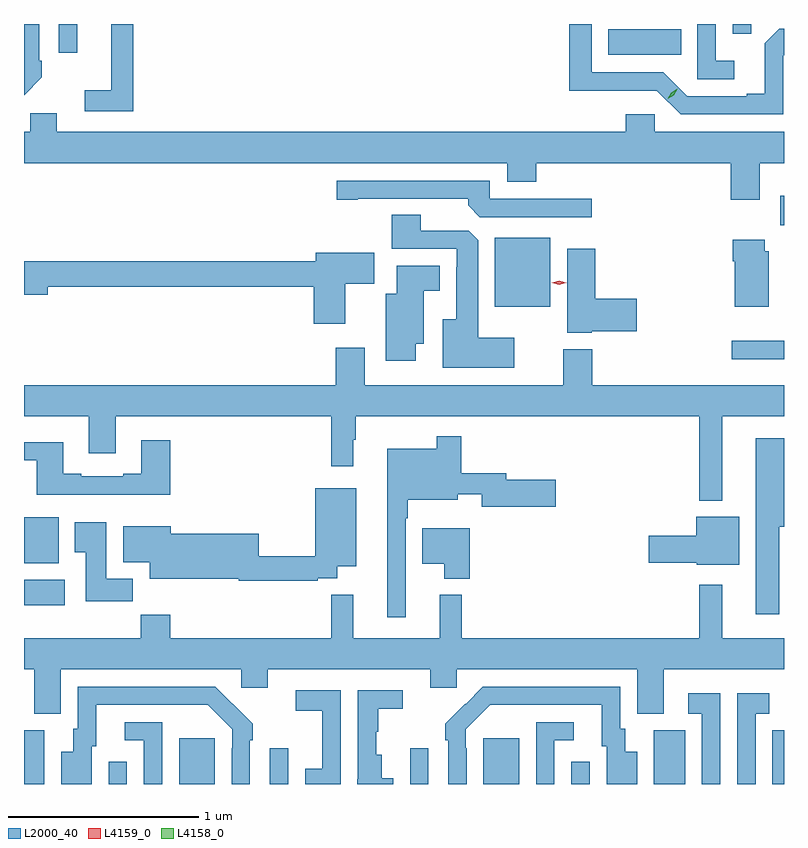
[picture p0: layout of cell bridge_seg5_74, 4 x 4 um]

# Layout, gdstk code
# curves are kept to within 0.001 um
import gdstk
lib = gdstk.Library(unit=1e-6, precision=1e-09)
def R(c, l, rs):  # rectangles x0, y0, x1, y1
    for r in rs: c.add(gdstk.rectangle(r[:2], r[2:], *l))
def P(c, l, *ps):  # polygons
    for p in ps: c.add(gdstk.Polygon(p, *l))
L2000_40 = (2000, 40)
L4158_0 = (4158, 0)
L4159_0 = (4159, 0)

bridge_seg5_74 = lib.new_cell('bridge_seg5_74')
R(bridge_seg5_74, L2000_40, [(134.297,909.436,134.404,909.72), (134.742,909.436,134.838,909.553), (135.113,909.436,135.301,909.676), (135.591,909.436,135.687,909.625), (136.329,909.436,136.425,909.625), (136.715,909.436,136.903,909.676), (137.178,909.436,137.274,909.553), (137.612,909.436,137.776,909.72), (138.236,909.436,138.297,909.72), (134.297,910.376,134.512,910.51), (134.297,910.598,134.479,910.84), (138.021,911.672,138.297,911.769), (136.775,911.948,137.068,912.31), (138.278,912.378,138.297,912.532), (137.372,913.274,137.756,913.408), (134.481,913.284,134.577,913.436), (138.027,913.384,138.125,913.436)])
P(bridge_seg5_74, L2000_40, [(134.873,913.436),(134.756,913.436),(134.756,913.087),(134.616,913.087),(134.616,912.978),(134.873,912.978)],
  [(134.391,913.155),(134.391,913.243),(134.376,913.243),(134.376,913.436),(134.297,913.436),(134.297,913.061)],
  [(138.034,913.243),(137.937,913.243),(137.937,913.436),(137.841,913.436),(137.841,913.146),(138.034,913.146)],
  [(138.294,913.272),(138.297,913.272),(138.297,913.412),(138.271,913.412),(138.195,913.336),(138.195,913.069),(138.101,913.069),(138.101,913.056),(137.787,913.056),(137.661,913.182),(137.284,913.182),(137.284,913.436),(137.166,913.436),(137.166,913.085),(137.628,913.086),(137.754,912.96),(138.294,912.96)],
  [(138.169,912.704),(138.297,912.704),(138.297,912.868),(137.616,912.868),(137.616,912.961),(137.465,912.961),(137.465,912.868),(134.47,912.868),(134.47,912.966),(134.331,912.966),(134.331,912.868),(134.297,912.868),(134.297,912.704),(136.841,912.704),(136.841,912.605),(136.994,912.605),(136.994,912.704),(138.017,912.704),(138.017,912.51),(138.169,912.51)],
  [(137.284,912.516),(136.749,912.516),(136.749,912.612),(135.942,912.612),(135.942,912.511),(136.054,912.511),(136.054,912.516),(136.634,912.516),(136.634,912.482),(136.695,912.42),(137.284,912.42)],
  [(136.876,911.785),(136.687,911.785),(136.687,912.299),(136.638,912.348),(136.384,912.348),(136.384,912.431),(136.232,912.431),(136.232,912.252),(136.575,912.252),(136.575,912.155),(136.571,912.155),(136.571,911.881),(136.502,911.881),(136.502,911.627),(136.876,911.627)],
  [(138.217,912.24),(138.196,912.24),(138.196,912.301),(138.026,912.301),(138.026,912.188),(138.038,912.188),(138.038,911.948),(138.217,911.948)],
  [(137.286,911.819),(137.521,911.819),(137.521,911.99),(137.303,911.99),(137.303,912.253),(137.156,912.253),(137.156,911.81),(137.286,911.81)],
  [(135.988,912.07),(136.141,912.07),(136.141,912.232),(135.833,912.232),(135.833,912.188),(134.297,912.188),(134.297,912.01),(134.422,912.01),(134.422,912.052),(135.821,912.052),(135.821,911.859),(135.988,911.859)],
  [(136.36,911.753),(136.402,911.753),(136.402,912.032),(136.486,912.032),(136.486,912.163),(136.259,912.163),(136.259,912.016),(136.202,912.016),(136.202,911.664),(136.36,911.664)],
  [(137.971,911.372),(138.297,911.372),(138.297,911.536),(137.288,911.536),(137.288,911.725),(137.135,911.725),(137.135,911.536),(136.09,911.536),(136.09,911.731),(135.938,911.731),(135.938,911.536),(134.297,911.536),(134.297,911.372),(134.639,911.372),(134.639,911.178),(134.779,911.178),(134.779,911.372),(135.913,911.372),(135.913,911.109),(136.03,911.109),(136.03,911.249),(136.042,911.249),(136.042,911.372),(137.85,911.372),(137.85,910.928),(137.971,910.928)],
  [(136.305,910.835),(136.318,910.835),(136.318,910.931),(136.579,910.931),(136.579,910.961),(136.706,910.961),(136.706,910.895),(137.095,910.895),(137.095,911.037),(136.834,911.037),(136.834,911.071),(136.598,911.071),(136.598,911.266),(136.47,911.266),(136.47,911.2),(136.208,911.2),(136.208,910.314),(136.305,910.314)],
  [(138.271,910.79),(138.297,910.79),(138.297,911.257),(138.149,911.257),(138.149,910.329),(138.271,910.329)],
  [(135.068,911.245),(134.915,911.245),(134.915,911.068),(134.819,911.068),(134.819,911.055),(134.599,911.055),(134.599,911.068),(134.503,911.068),(134.503,911.236),(134.297,911.236),(134.297,911.139),(134.363,911.139),(134.363,910.958),(135.068,910.958)],
  [(135.842,910.518),(135.946,910.518),(135.946,910.583),(136.045,910.583),(136.045,910.993),(135.83,910.993),(135.83,910.634),(135.532,910.634),(135.532,910.753),(135.07,910.753),(135.07,910.792),(134.819,910.792),(134.819,910.604),(134.96,910.604),(134.96,910.517),(135.428,910.517),(135.428,910.506),(135.842,910.506)],
  [(138.061,910.843),(137.834,910.843),(137.834,910.742),(137.586,910.742),(137.586,910.6),(137.838,910.6),(137.838,910.589),(138.061,910.589)],
  [(134.87,910.516),(134.731,910.516),(134.731,910.813),(134.564,910.813),(134.564,910.657),(134.621,910.657),(134.621,910.398),(134.87,910.398)],
  [(136.643,910.783),(136.394,910.783),(136.394,910.595),(136.508,910.595),(136.508,910.517),(136.643,910.517)],
  [(134.491,910.04),(135.441,910.04),(135.441,909.942),(135.58,909.942),(135.58,910.04),(136.436,910.04),(136.436,909.942),(136.575,909.942),(136.575,910.04),(137.525,910.04),(137.525,909.805),(137.665,909.805),(137.665,910.04),(138.297,910.04),(138.297,910.204),(137.971,910.204),(137.971,910.486),(137.85,910.486),(137.85,910.204),(136.601,910.204),(136.601,910.432),(136.484,910.432),(136.484,910.204),(136.031,910.204),(136.031,910.433),(135.913,910.433),(135.913,910.204),(135.068,910.204),(135.068,910.328),(134.911,910.328),(134.911,910.204),(134.297,910.204),(134.297,910.04),(134.351,910.04),(134.351,909.805),(134.491,909.805)],
  [(134.653,909.636),(134.677,909.636),(134.677,909.852),(135.265,909.852),(135.393,909.723),(135.393,909.623),(135.39,909.623),(135.39,909.436),(135.486,909.436),(135.486,909.665),(135.501,909.665),(135.501,909.753),(135.304,909.948),(134.58,909.948),(134.58,909.726),(134.555,909.726),(134.555,909.607),(134.492,909.607),(134.492,909.436),(134.653,909.436)],
  [(136.626,909.623),(136.623,909.623),(136.623,909.723),(136.752,909.852),(137.339,909.852),(137.339,909.636),(137.363,909.636),(137.363,909.436),(137.524,909.436),(137.524,909.607),(137.461,909.607),(137.461,909.726),(137.436,909.726),(137.436,909.948),(136.712,909.948),(136.515,909.753),(136.515,909.665),(136.53,909.665),(136.53,909.436),(136.626,909.436)],
  [(136.24,909.466),(136.18,909.466),(136.18,909.589),(136.151,909.589),(136.151,909.711),(136.162,909.711),(136.162,909.832),(136.291,909.832),(136.291,909.93),(136.053,909.93),(136.053,909.462),(136.052,909.462),(136.052,909.436),(136.24,909.436)],
  [(135.963,909.93),(135.726,909.93),(135.726,909.822),(135.866,909.822),(135.866,909.517),(135.776,909.517),(135.776,909.436),(135.963,909.436)],
  [(137.961,909.913),(137.793,909.913),(137.793,909.807),(137.865,909.807),(137.865,909.436),(137.961,909.436)],
  [(138.147,909.807),(138.22,909.807),(138.22,909.913),(138.051,909.913),(138.051,909.436),(138.147,909.436)],
  [(137.088,909.666),(137.191,909.666),(137.191,909.762),(136.992,909.762),(136.992,909.436),(137.088,909.436)],
  [(135.024,909.762),(134.826,909.762),(134.826,909.666),(134.928,909.666),(134.928,909.436),(135.024,909.436)])
P(bridge_seg5_74, L4158_0, [(137.686,913.043),(137.686,913.043),(137.704,913.075),(137.736,913.094),(137.736,913.094),(137.736,913.093),(137.718,913.061),(137.686,913.043)])
P(bridge_seg5_74, L4159_0, [(137.113,912.064),(137.075,912.075),(137.074,912.075),(137.075,912.075),(137.113,912.084),(137.151,912.073),(137.152,912.073),(137.151,912.073)])

lib.write_gds('bridge_seg5_74.gds')
